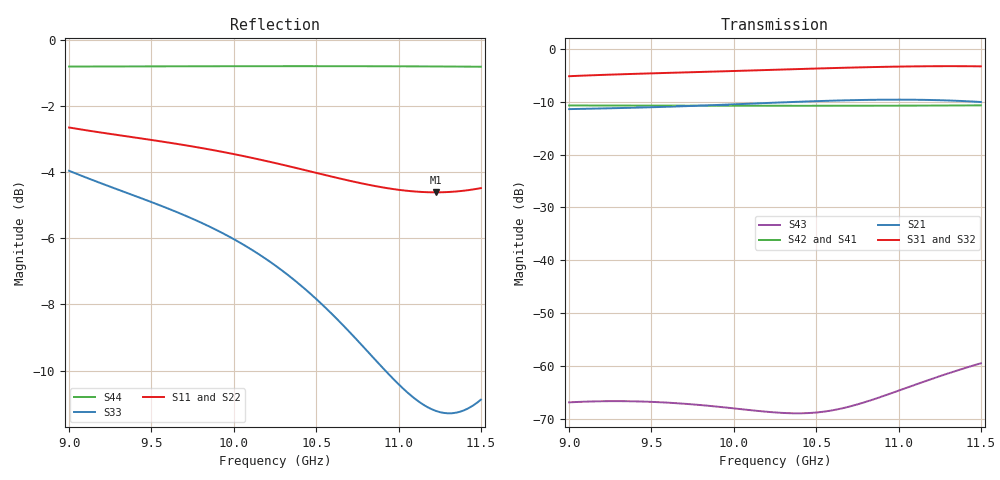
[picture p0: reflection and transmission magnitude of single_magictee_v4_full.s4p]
! Generated from PyAEDT SolutionData; AEDT ExportNetworkData workaround
# GHz S MA R 50
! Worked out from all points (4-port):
!   101 points, 9 GHz to 11.5 GHz, reference 50 ohm
!   strongest paths, dB at 9 GHz, 9.625 GHz, 10.25 GHz, 10.88 GHz, 11.5 GHz:
!     S31: -5.2, -4.6, -4.0, -3.5, -3.4
!     S32: -5.3, -4.6, -4.0, -3.5, -3.4
!     S21: -11.4, -11.0, -10.2, -9.7, -10.1
!     S42: -10.7, -10.8, -10.8, -10.8, -10.7
!     S41: -10.8, -10.8, -10.8, -10.8, -10.7
!     S43: -66.8, -66.9, -68.7, -65.9, -59.4
!   lowest |S11| = -4.6 dB at 11.22 GHz (marker M1), VSWR 3.86, Z = 13.9 + j12.7 ohm
!   |S11| at or under -10 dB: nowhere
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9  0.7374 27.8  0.2681 -94.9  0.5479 -1.4  0.2899 24.8
   0.2681 -94.9  0.7392 28.1  0.5455 -1.3  0.2901 -155.0
   0.5479 -1.4  0.5455 -1.3  0.6342 170.2  0.0004586 20.2
   0.2899 24.8  0.2901 -155.0  0.0004586 20.2  0.912 -172.4
9.4  0.7121 -19.5  0.2766 -148.2  0.5768 -71.7  0.2893 -17.2
     0.2766 -148.2  0.7141 -19.1  0.5742 -71.6  0.2895 163.0
     0.5768 -71.7  0.5742 -71.6  0.5811 77.8  0.0004686 -57.9
     0.2893 -17.2  0.2895 163.0  0.0004686 -57.9  0.9124 151.5
9.725  0.6919 -56.7  0.2865 170.5  0.5965 -126.6  0.2887 -50.2
       0.2865 170.5  0.694 -56.3  0.594 -126.5  0.2889 130.1
       0.5965 -126.6  0.594 -126.5  0.5398 6.2  0.000442 -116.2
       0.2887 -50.2  0.2889 130.1  0.000442 -116.2  0.9128 123.1
10.075  0.6663 -95.6  0.3007 126.7  0.6185 175.7  0.2883 -84.8
        0.3007 126.7  0.6683 -95.1  0.6163 175.9  0.2885 95.5
        0.6185 175.7  0.6163 175.9  0.4875 -68.6  0.0003911 -170.8
        0.2883 -84.8  0.2885 95.5  0.0003911 -170.8  0.9131 93.3
10.65  0.6169 -155.9  0.3237 54.1  0.657 82.4  0.2883 -140.0
       0.3237 54.1  0.6188 -155.5  0.6551 82.5  0.2884 40.2
       0.657 82.4  0.6551 82.5  0.3732 166.0  0.0004003 126.8
       0.2883 -140.0  0.2884 40.2  0.0004003 126.8  0.9131 45.7
11.225  0.5884 149.4  0.326 -20.3  0.6809 -11.2  0.2897 166.1
        0.326 -20.3  0.5907 149.7  0.6789 -11.1  0.2896 -13.7
        0.6809 -11.2  0.6789 -11.1  0.2748 20.3  0.0007847 53.4
        0.2897 166.1  0.2896 -13.7  0.0007847 53.4  0.9122 -0.8
11.5  0.5971 124.4  0.3129 -56.1  0.6789 -56.2  0.2911 140.6
      0.3129 -56.1  0.6 124.5  0.6764 -56.1  0.2909 -39.1
      0.6789 -56.2  0.6764 -56.1  0.2857 -57.3  0.001073 8.3
      0.2911 140.6  0.2909 -39.1  0.001073 8.3  0.9114 -22.7
